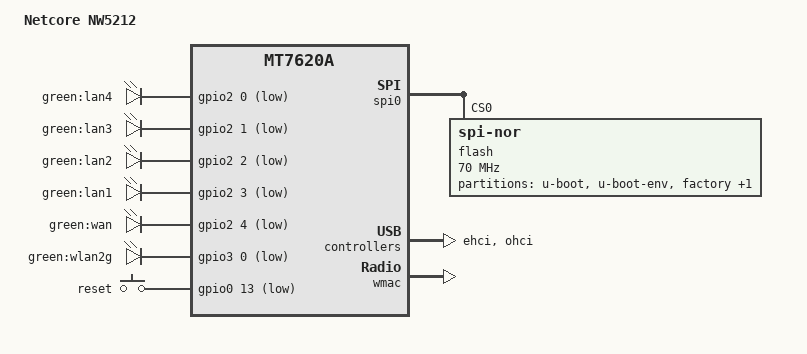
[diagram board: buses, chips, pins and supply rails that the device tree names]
// SPDX-License-Identifier: GPL-2.0-or-later OR MIT

#include "mt7620a.dtsi"

#include <dt-bindings/gpio/gpio.h>
#include <dt-bindings/input/input.h>

/ {
	compatible = "netcore,nw5212", "ralink,mt7620a-soc";
	model = "Netcore NW5212";

	aliases {
		label-mac-device = &ethernet;
	};

	leds {
		compatible = "gpio-leds";

		lan4 {
			label = "green:lan4";
			gpios = <&gpio2 0 GPIO_ACTIVE_LOW>;
		};

		lan3 {
			label = "green:lan3";
			gpios = <&gpio2 1 GPIO_ACTIVE_LOW>;
		};

		lan2 {
			label = "green:lan2";
			gpios = <&gpio2 2 GPIO_ACTIVE_LOW>;
		};

		lan1 {
			label = "green:lan1";
			gpios = <&gpio2 3 GPIO_ACTIVE_LOW>;
		};

		wan {
			label = "green:wan";
			gpios = <&gpio2 4 GPIO_ACTIVE_LOW>;
		};

		wlan2g {
			label = "green:wlan2g";
			gpios = <&gpio3 0 GPIO_ACTIVE_LOW>;
			linux,default-trigger = "phy0tpt";
		};
	};

	keys {
		compatible = "gpio-keys";

		reset {
			label = "reset";
			gpios = <&gpio0 13 GPIO_ACTIVE_LOW>;
			linux,code = <KEY_RESTART>;
		};
	};
};

&gpio2 {
	status = "okay";
};

&gpio3 {
	status = "okay";
};

&spi0 {
	status = "okay";

	flash@0 {
		compatible = "jedec,spi-nor";
		reg = <0>;
		spi-max-frequency = <70000000>;
		m25p,fast-read;

		partitions {
			compatible = "fixed-partitions";
			#address-cells = <1>;
			#size-cells = <1>;

			partition@0 {
				label = "u-boot";
				reg = <0x0 0x30000>;
				read-only;
			};

			partition@30000 {
				label = "u-boot-env";
				reg = <0x30000 0x10000>;
			};

			factory: partition@40000 {
				label = "factory";
				reg = <0x40000 0x10000>;
				read-only;
			};

			partition@50000 {
				compatible = "denx,uimage";
				label = "firmware";
				reg = <0x50000 0xfb0000>;
			};
		};
	};
};

&state_default {
	gpio {
		groups = "uartf", "wled", "ephy";
		function = "gpio";
	};
};

&ethernet {
	mtd-mac-address = <&factory 0x28>;
	mediatek,portmap = "llllw";
};

&ehci {
	status = "okay";
};

&ohci {
	status = "okay";
};

&wmac {
	ralink,mtd-eeprom = <&factory 0x0>;
};
